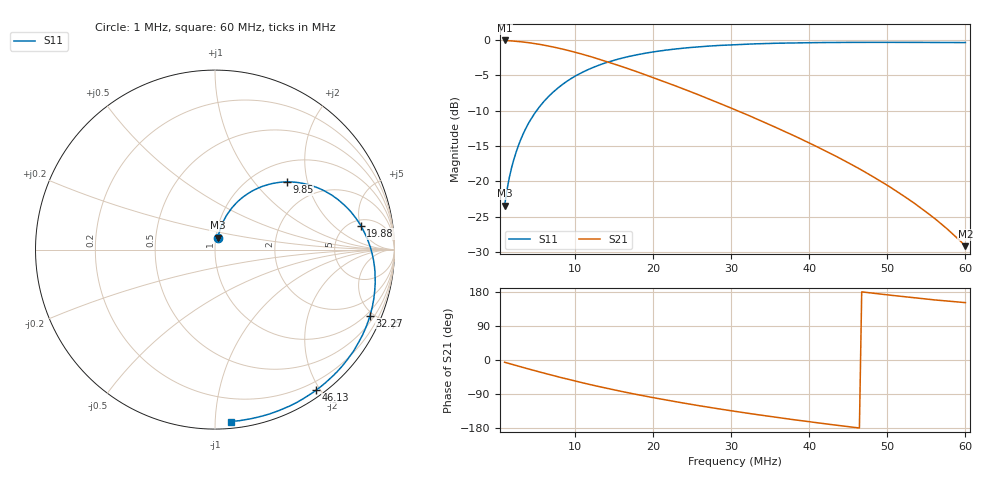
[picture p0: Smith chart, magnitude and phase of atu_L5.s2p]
! S11/S21 from S-A-A-2 VNA
! Written 2026-11-14 07:41:37 by the saav2 MCP server
! S12 and S22 were not measured (1.5-port VNA) and are written as 0
# HZ S RI R 50
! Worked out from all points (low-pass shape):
!   201 points, 1 MHz to 60 MHz, reference 50 ohm
!   highest |S21| = -0.04 dB at 1 MHz (marker M1); lowest = -29.2 dB at 60 MHz (marker M2)
!   |S21| within 3 dB of the highest: start of sweep to 14.1 MHz
!   lowest |S11| = -23.4 dB at 1 MHz (marker M3), VSWR 1.14, Z = 51.1 + j6.73 ohm
!   |S11| at or under -10 dB: start of sweep to 5.087 MHz
!   S12 and S22 are empty: the file has one direction only
!   S11 on the Smith chart (normalised r, x): 1 MHz: 1.02, +0.13; 9.85 MHz: 1.39, +1.50; 19.88 MHz: 6.13, +5.03; 32.27 MHz: 0.77, -4.78; 46.13 MHz: 0.09, -1.95; 60 MHz: 0.04, -1.10
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1000000  0.0155 0.0656  0.9903 -0.1024  0 0  0 0
1590000  0.0252 0.1025  0.9776 -0.162  0 0  0 0
2180000  0.0377 0.1376  0.9603 -0.2186  0 0  0 0
3065000  0.0625 0.1875  0.9276 -0.3001  0 0  0 0
3950000  0.0944 0.2328  0.8854 -0.3761  0 0  0 0
5425000  0.1589 0.295  0.7993 -0.4853  0 0  0 0
6900000  0.2344 0.3398  0.6987 -0.572  0 0  0 0
9850000  0.3985 0.3775  0.4781 -0.6738  0 0  0 0
1.103e7  0.463 0.3737  0.3912 -0.6901  0 0  0 0
1.3095e7  0.5689 0.3455  0.2488 -0.6904  0 0  0 0
1.5455e7  0.6732 0.2875  0.1079 -0.6576  0 0  0 0
1.988e7  0.8127 0.1323  -0.0835 -0.5408  0 0  0 0
2.0765e7  0.8318 0.0973  -0.1104 -0.5131  0 0  0 0
2.519e7  0.8874 -0.0853  -0.1997 -0.3735  0 0  0 0
3.05e7  0.8797 -0.3005  -0.2295 -0.2258  0 0  0 0
3.227e7  0.8637 -0.3678  -0.2272 -0.1846  0 0  0 0
3.6105e7  0.808 -0.5036  -0.2086 -0.1102  0 0  0 0
4.053e7  0.7148 -0.6413  -0.1744 -0.0489  0 0  0 0
4.6135e7  0.5641 -0.7829  -0.1252 -0.00275  0 0  0 0
5.0265e7  0.4349 -0.8621  -0.0908 0.0139  0 0  0 0
5.6165e7  0.2313 -0.9353  -0.0502 0.0199  0 0  0 0
6e7  0.0898 -0.958  -0.0305 0.0166  0 0  0 0
